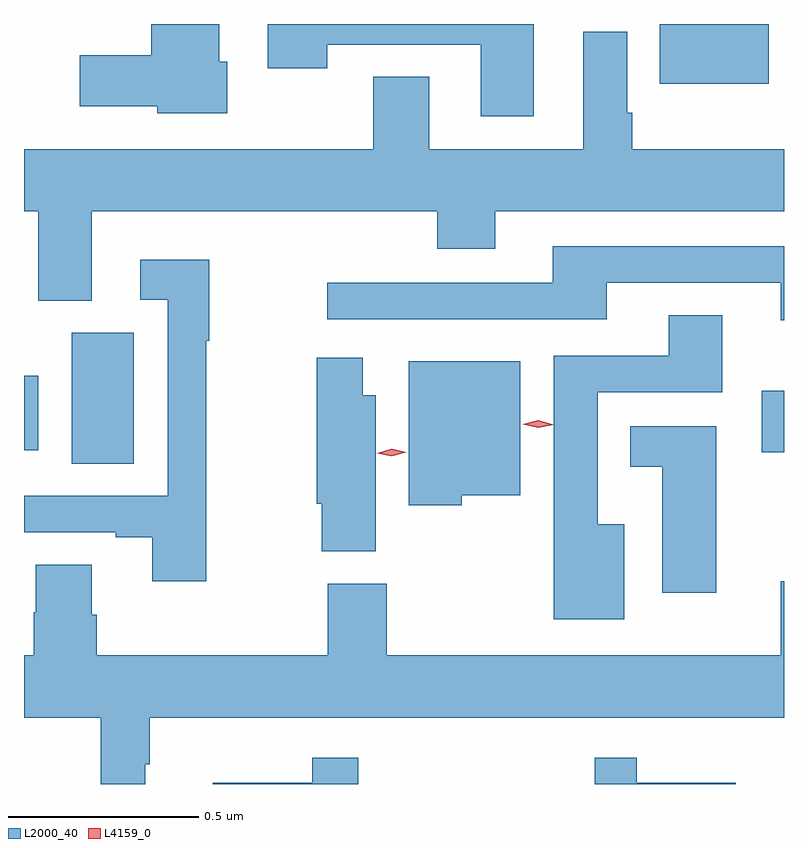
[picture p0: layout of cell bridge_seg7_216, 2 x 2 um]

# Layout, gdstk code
import gdstk
lib = gdstk.Library(unit=1e-6, precision=1e-09)
def R(c, l, rs):  # rectangles x0, y0, x1, y1
    for r in rs: c.add(gdstk.rectangle(r[:2], r[2:], *l))
def P(c, l, *ps):  # polygons
    for p in ps: c.add(gdstk.Polygon(p, *l))
L2000_40 = (2000, 40)
L4159_0 = (4159, 0)

bridge_seg7_216 = lib.new_cell('bridge_seg7_216')
R(bridge_seg7_216, L2000_40, [(160.922,1010.608,161.086,1010.952), (162.738,1010.638,162.797,1010.8), (160.797,1010.643,160.834,1010.839), (162.47,1011.608,162.757,1011.765)])
P(bridge_seg7_216, L2000_40, [(161.332,1011.666),(161.311,1011.666),(161.311,1011.765),(161.132,1011.765),(161.132,1011.683),(160.944,1011.683),(160.944,1011.548),(161.148,1011.548),(161.148,1011.53),(161.332,1011.53)],
  [(162.139,1011.765),(161.439,1011.765),(161.439,1011.648),(161.595,1011.648),(161.595,1011.711),(161.999,1011.711),(161.999,1011.522),(162.139,1011.522)],
  [(160.975,1011.272),(161.885,1011.272),(161.885,1011.173),(162.037,1011.173),(162.037,1011.272),(162.797,1011.272),(162.797,1011.436),(162.398,1011.436),(162.398,1011.532),(162.385,1011.532),(162.385,1011.745),(162.269,1011.745),(162.269,1011.436),(161.863,1011.436),(161.863,1011.626),(161.716,1011.626),(161.716,1011.436),(160.797,1011.436),(160.797,1011.272),(160.835,1011.272),(160.835,1011.037),(160.975,1011.037)],
  [(162.797,1011.18),(162.188,1011.18),(162.188,1011.084),(161.595,1011.084),(161.595,1010.988),(162.331,1010.988),(162.331,1011.084),(162.788,1011.084),(162.788,1010.985),(162.797,1010.985)],
  [(161.276,1010.932),(161.284,1010.932),(161.284,1011.145),(161.103,1011.145),(161.103,1011.039),(161.175,1011.039),(161.175,1010.523),(160.797,1010.523),(160.797,1010.427),(161.039,1010.427),(161.039,1010.415),(161.135,1010.415),(161.135,1010.298),(161.276,1010.298)],
  [(162.376,1010.449),(162.307,1010.449),(162.307,1010.796),(162.634,1010.796),(162.634,1010.999),(162.494,1010.999),(162.494,1010.892),(162.191,1010.892),(162.191,1010.198),(162.376,1010.198)],
  [(161.722,1010.788),(161.689,1010.788),(161.689,1010.887),(161.567,1010.887),(161.567,1010.502),(161.581,1010.502),(161.581,1010.377),(161.722,1010.377)],
  [(161.949,1010.525),(162.103,1010.525),(162.103,1010.878),(161.81,1010.878),(161.81,1010.498),(161.949,1010.498)],
  [(162.619,1010.707),(162.392,1010.707),(162.392,1010.6),(162.476,1010.6),(162.476,1010.268),(162.619,1010.268)],
  [(161.116,1009.817),(161.128,1009.817),(161.128,1009.94),(162.797,1009.94),(162.797,1010.299),(162.788,1010.299),(162.788,1010.104),(161.751,1010.104),(161.751,1010.292),(161.596,1010.292),(161.596,1010.104),(160.988,1010.104),(160.988,1010.21),(160.975,1010.21),(160.975,1010.342),(160.828,1010.342),(160.828,1010.217),(160.823,1010.217),(160.823,1010.104),(160.797,1010.104),(160.797,1009.94),(160.999,1009.94),(160.999,1009.765),(161.116,1009.765)],
  [(161.677,1009.834),(161.556,1009.834),(161.556,1009.768),(161.294,1009.768),(161.294,1009.765),(161.677,1009.765)],
  [(162.67,1009.768),(162.409,1009.768),(162.409,1009.834),(162.299,1009.834),(162.299,1009.765),(162.67,1009.765)])
P(bridge_seg7_216, L4159_0, [(162.15,1010.702),(162.11,1010.712),(162.11,1010.712),(162.11,1010.712),(162.15,1010.722),(162.191,1010.711),(162.191,1010.711),(162.191,1010.711)],
  [(161.765,1010.627),(161.727,1010.636),(161.726,1010.636),(161.727,1010.636),(161.765,1010.647),(161.803,1010.638),(161.804,1010.638),(161.803,1010.638)])

lib.write_gds('bridge_seg7_216.gds')
